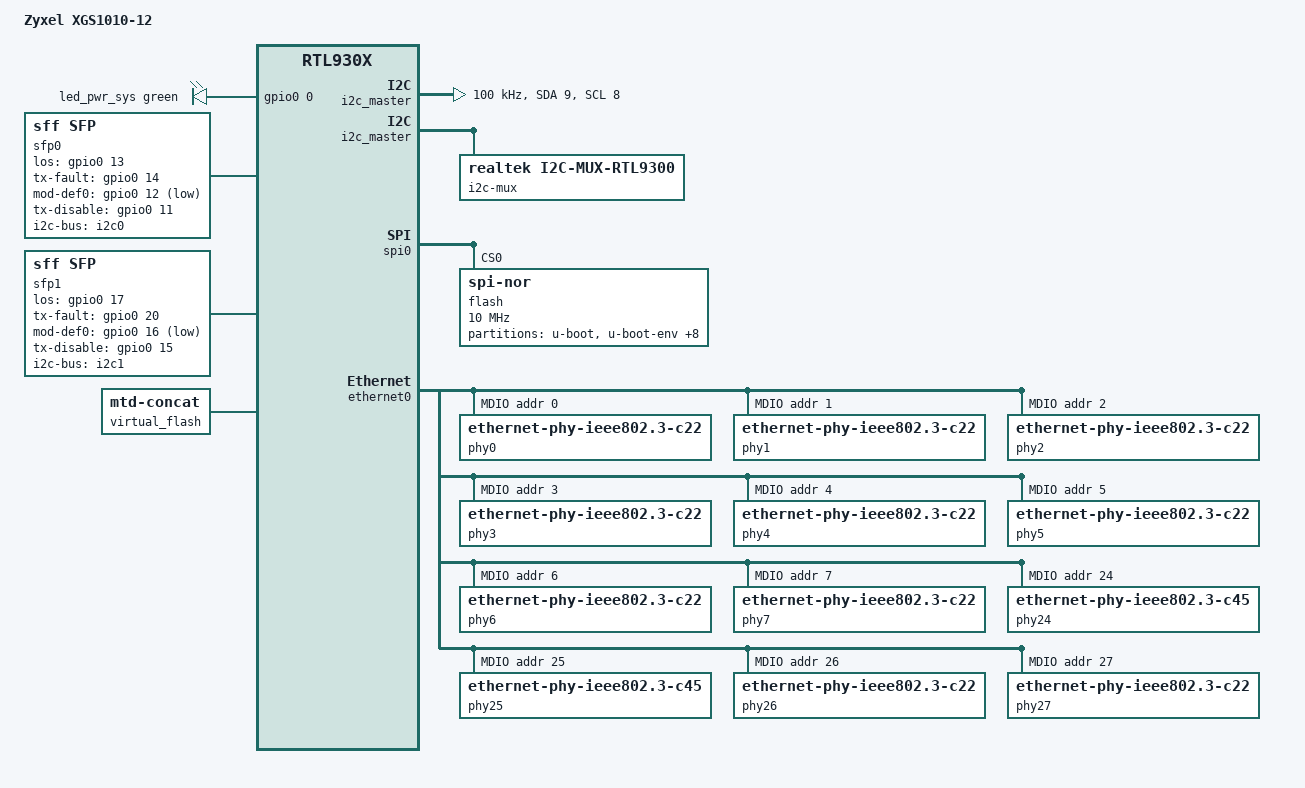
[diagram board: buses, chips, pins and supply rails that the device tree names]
// SPDX-License-Identifier: GPL-2.0-or-later

#include "rtl930x.dtsi"

#include <dt-bindings/input/input.h>
#include <dt-bindings/gpio/gpio.h>
#include <dt-bindings/leds/common.h>

/ {
	compatible = "zyxel,xgs1010-12", "realtek,rtl930x-soc";
	model = "Zyxel XGS1010-12";

	aliases {
		led-boot = &led_pwr_sys;
		led-failsafe = &led_pwr_sys;
		led-running = &led_pwr_sys;
		led-upgrade = &led_pwr_sys;
	};

	i2c_master: i2c@1b00036c {
		compatible = "realtek,rtl9300-i2c";
		reg = <0x1b00036c 0x3c>;
		#address-cells = <1>;
		#size-cells = <0>;
		scl-pin = <8>;
		sda-pin = <9>;
		clock-frequency = <100000>;
	};

	i2c-mux {
		compatible = "realtek,i2c-mux-rtl9300";
		i2c-parent = <&i2c_master>;
		#address-cells = <1>;
		#size-cells = <0>;

		i2c0: i2c@0 {
			reg = <0>;
			scl-pin = <8>;
			sda-pin = <9>;
		};

		i2c1: i2c@1 {
			reg = <1>;
			scl-pin = <8>;
			sda-pin = <10>;
		};
	};

	leds {
		compatible = "gpio-leds";

		pinctrl-names = "default";
		pinctrl-0 = <&pinmux_disable_sys_led>;

		led_pwr_sys: led-0 {
			color = <LED_COLOR_ID_GREEN>;
			function = LED_FUNCTION_POWER;
			gpios = <&gpio0 0 GPIO_ACTIVE_HIGH>;
		};
	};

	sfp0: sfp-p11 {
		compatible = "sff,sfp";
		i2c-bus = <&i2c0>;
		los-gpio = <&gpio0 13 GPIO_ACTIVE_HIGH>;
		tx-fault-gpio = <&gpio0 14 GPIO_ACTIVE_HIGH>;
		mod-def0-gpio = <&gpio0 12 GPIO_ACTIVE_LOW>;
		tx-disable-gpio = <&gpio0 11 GPIO_ACTIVE_HIGH>;
	};

	sfp1: sfp-p12 {
		compatible = "sff,sfp";
		i2c-bus = <&i2c1>;
		los-gpio = <&gpio0 17 GPIO_ACTIVE_HIGH>;
		tx-fault-gpio = <&gpio0 20 GPIO_ACTIVE_HIGH>;
		mod-def0-gpio = <&gpio0 16 GPIO_ACTIVE_LOW>;
		tx-disable-gpio = <&gpio0 15 GPIO_ACTIVE_HIGH>;
	};

	led_set: led_set {
		compatible = "realtek,rtl9300-leds";
		active-low;

		// LED set 0:
		// Amber: 100M/10M
		// Yellow: 1G
		led_set0 = <0x0a20 0x0b80>;

		// LED set 1:
		// Blue: 2.5G
		// Green: 2.5G
		// Yellow: 1G
		// Amber: 100M/10M
		// (Blue + Green = Cyan)
		led_set1 = <0x0b80 0x0a20 0x0a08 0x0a08>;

		// LED set 2:
		// Blue: 10G/5G/2.5G
		// Yellow: 5G/2.5G/1G
		// (Blue + Yellow = Purple)
		led_set2 = <0x0a2a 0x0a0b>;
	};

	virtual_flash {
		compatible = "mtd-concat";

		devices = <&fwconcat0 &fwconcat1 &fwconcat2>;

		partitions {
			compatible = "fixed-partitions";
			#address-cells = <1>;
			#size-cells = <1>;

			partition@0 {
				label = "firmware";
				reg = <0x0 0x0>;
				compatible = "openwrt,uimage", "denx,uimage";
				openwrt,ih-magic = <0x93001010>;
			};
		};
	};
};

&spi0 {
	status = "okay";
	flash@0 {
		compatible = "jedec,spi-nor";
		reg = <0>;
		spi-max-frequency = <10000000>;

		partitions {
			compatible = "fixed-partitions";
			#address-cells = <1>;
			#size-cells = <1>;

			partition@0 {
				label = "u-boot";
				reg = <0x0 0xe0000>;
				read-only;
			};

			partition@e0000 {
				label = "u-boot-env";
				reg = <0xe0000 0x10000>;
			};

			partition@f0000 {
				label = "u-boot-env2";
				reg = <0xf0000 0x10000>;
				read-only;
			};

			partition@100000 {
				label = "jffs2-cfg";
				reg = <0x100000 0x100000>;
			};

			partition@200000 {
				label = "jffs2-log";
				reg = <0x200000 0x100000>;
			};

			fwconcat1: partition@300000 {
				label = "fwconcat1";
				reg = <0x300000 0x510000>;
			};

			partition@810000 {
				reg = <0x810000 0x10000>;
				label = "htp-log";
				read-only;
			};

			fwconcat2: partition@820000 {
				label = "fwconcat2";
				reg = <0x820000 0xd0000>;
			};

			partition@8f0000 {
				reg = <0x8f0000 0x10000>;
				label = "htp-flash-test";
				read-only;
			};

			fwconcat0: partition@900000 {
				label = "fwconcat0";
				reg = <0x900000 0x700000>;
			};
		};
	};
};

&ethernet0 {
	mdio: mdio-bus {
		compatible = "realtek,rtl838x-mdio";
		regmap = <&ethernet0>;
		#address-cells = <1>;
		#size-cells = <0>;

		/* External RTL8218D PHY */
		phy0: ethernet-phy@0 {
			reg = <0>;
			compatible = "ethernet-phy-ieee802.3-c22";
			rtl9300,smi-address = <0 0>;
			sds = <2>;
			// Disabled because we do not know how to bring up again
			// reset-gpios = <&gpio0 21 GPIO_ACTIVE_LOW>;
		};
		phy1: ethernet-phy@1 {
			reg = <1>;
			compatible = "ethernet-phy-ieee802.3-c22";
			rtl9300,smi-address = <0 1>;
		};
		phy2: ethernet-phy@2 {
			reg = <2>;
			compatible = "ethernet-phy-ieee802.3-c22";
			rtl9300,smi-address = <0 2>;
		};
		phy3: ethernet-phy@3 {
			reg = <3>;
			compatible = "ethernet-phy-ieee802.3-c22";
			rtl9300,smi-address = <0 3>;
		};
		phy4: ethernet-phy@4 {
			reg = <4>;
			compatible = "ethernet-phy-ieee802.3-c22";
			rtl9300,smi-address = <0 4>;
		};
		phy5: ethernet-phy@5 {
			reg = <5>;
			compatible = "ethernet-phy-ieee802.3-c22";
			rtl9300,smi-address = <0 5>;
		};
		phy6: ethernet-phy@6 {
			reg = <6>;
			compatible = "ethernet-phy-ieee802.3-c22";
			rtl9300,smi-address = <0 6>;
		};
		phy7: ethernet-phy@7 {
			reg = <7>;
			compatible = "ethernet-phy-ieee802.3-c22";
			rtl9300,smi-address = <0 7>;
		};

		/* External RTL8226 PHYs */
		phy24: ethernet-phy@24 {
			reg = <24>;
			compatible = "ethernet-phy-ieee802.3-c45";
			rtl9300,smi-address = <1 8>;
			sds = <6>;
			// Disabled because we do not know how to bring up again
			// reset-gpios = <&gpio0 21 GPIO_ACTIVE_LOW>;
		};

		phy25: ethernet-phy@25 {
			reg = <25>;
			compatible = "ethernet-phy-ieee802.3-c45";
			rtl9300,smi-address = <2 9>;
			sds = <7>;
			// Disabled because we do not know how to bring up again
			// reset-gpios = <&gpio0 21 GPIO_ACTIVE_LOW>;
		};

		/* SFP Ports */
		phy26: ethernet-phy@26 {
			reg = <26>;
			compatible = "ethernet-phy-ieee802.3-c22";
			phy-is-integrated;
			sds = <8>;
		};

		phy27: ethernet-phy@27 {
			reg = <27>;
			compatible = "ethernet-phy-ieee802.3-c22";
			phy-is-integrated;
			sds = <9>;
		};

	};
};

&switch0 {
	ports {
		#address-cells = <1>;
		#size-cells = <0>;

		port@0 {
			reg = <0>;
			label = "lan1";
			phy-handle = <&phy0>;
			phy-mode = "xgmii";
			led-set = <0>;
		};
		port@1 {
			reg = <1>;
			label = "lan2";
			phy-handle = <&phy1>;
			phy-mode = "xgmii";
			led-set = <0>;
		};
		port@2 {
			reg = <2>;
			label = "lan3";
			phy-handle = <&phy2>;
			phy-mode = "xgmii";
			led-set = <0>;
		};
		port@3 {
			reg = <3>;
			label = "lan4";
			phy-handle = <&phy3>;
			phy-mode = "xgmii";
			led-set = <0>;
		};
		port@4 {
			reg = <4>;
			label = "lan5";
			phy-handle = <&phy4>;
			phy-mode = "xgmii";
			led-set = <0>;
		};
		port@5 {
			reg = <5>;
			label = "lan6";
			phy-handle = <&phy5>;
			phy-mode = "xgmii";
			led-set = <0>;
		};
		port@6 {
			reg = <6>;
			label = "lan7";
			phy-handle = <&phy6>;
			phy-mode = "xgmii";
			led-set = <0>;
		};
		port@7 {
			reg = <7>;
			label = "lan8";
			phy-handle = <&phy7>;
			phy-mode = "xgmii";
			led-set = <0>;
		};
		port@24 {
			reg = <24>;
			label = "lan9";
			phy-mode = "hsgmii";
			phy-handle = <&phy24>;
			led-set = <1>;
		};
		port@25 {
			reg = <25>;
			label = "lan10";
			phy-mode = "hsgmii";
			phy-handle = <&phy25>;
			led-set = <1>;
		};
		port@26 {
			reg = <26>;
			label = "lan11";
			phy-mode = "10gbase-r";
			pseudo-phy-handle = <&phy26>;
			sfp = <&sfp0>;
			led-set = <2>;
			managed = "in-band-status";
		};
		port@27 {
			reg = <27>;
			label = "lan12";
			phy-mode = "10gbase-r";
			pseudo-phy-handle = <&phy27>;
			sfp = <&sfp1>;
			led-set = <2>;
			managed = "in-band-status";
		};
		port@28 {
			ethernet = <&ethernet0>;
			reg = <28>;
			phy-mode = "internal";

			fixed-link {
				speed = <10000>;
				full-duplex;
			};
		};
	};
};
